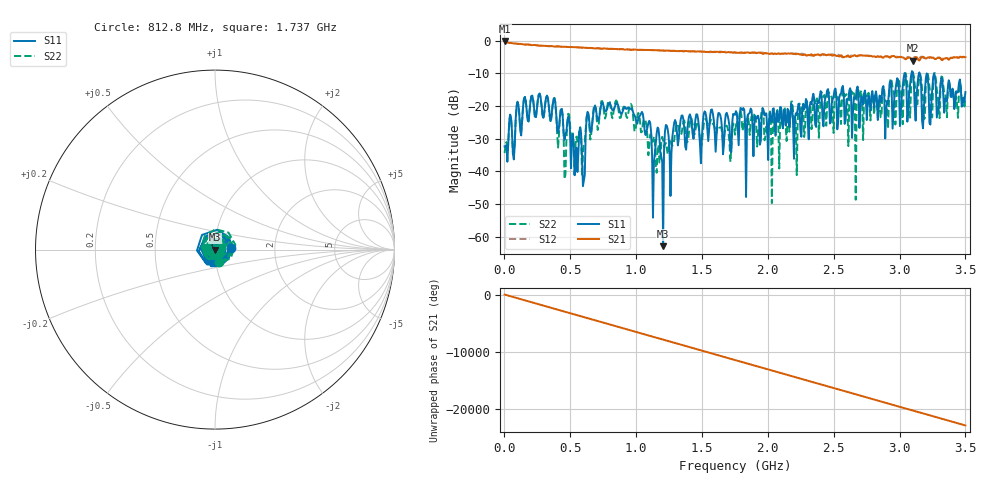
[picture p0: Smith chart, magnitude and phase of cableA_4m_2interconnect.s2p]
# GHZ S RI R 50.000000000000
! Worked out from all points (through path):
!   501 points, 1 MHz to 3.5 GHz, reference 50 ohm
!   highest |S21| = -0.16 dB at 1 MHz (marker M1); lowest = -6.2 dB at 3.101 GHz (marker M2)
!   lowest |S11| = -62.9 dB at 1.205 GHz (marker M3), VSWR 1.00, Z = 49.9 + j0.000719 ohm
!   |S11| at or under -10 dB: start of sweep to 3.038 GHz; 3.038 GHz to 3.091 GHz (52.55 MHz wide, 1.71 % of centre); 3.152 GHz to end of sweep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
!   |S22| runs from -49.7 to -9.7 dB; largest |S21 - S12| = 0.065
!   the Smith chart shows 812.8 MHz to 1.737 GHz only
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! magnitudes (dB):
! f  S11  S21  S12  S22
! 1 MHz  -32.4  -0.2  0.0  -34.4
! 266.9 MHz  -16.2  -1.6  -1.6  -16.3
! 588.8 MHz  -35.4  -2.1  -2.2  -41.3
! 630.8 MHz  -21.8  -2.3  -2.3  -22.0
! 847.8 MHz  -19.2  -2.6  -2.6  -18.3
! 1.1 GHz  -24.6  -2.9  -2.9  -32.1
! 1.135 GHz  -37.4  -2.9  -2.9  -29.4
! 1.17 GHz  -27.0  -3.0  -3.0  -32.0
! 1.205 GHz  -62.9  -3.1  -3.1  -30.7
! 1.233 GHz  -26.0  -3.1  -3.1  -33.2
! 1.261 GHz  -47.6  -3.1  -3.1  -30.8
! 1.345 GHz  -23.0  -3.2  -3.2  -28.5
! 1.75 GHz  -22.7  -3.6  -3.8  -28.8
! 2.044 GHz  -20.7  -4.1  -4.2  -24.0
! 2.338 GHz  -17.6  -4.4  -4.7  -24.2
! 2.919 GHz  -15.9  -5.1  -5.1  -19.5
! 3.101 GHz  -9.8  -6.2  -5.7  -9.7
! 3.178 GHz  -26.8  -5.0  -5.3  -17.7
! 3.206 GHz  -10.0  -5.4  -5.1  -10.5
! 3.234 GHz  -25.7  -5.1  -5.3  -16.8
! 3.262 GHz  -10.0  -5.5  -5.3  -10.2
! 3.5 GHz  -15.8  -5.1  -5.1  -17.9
